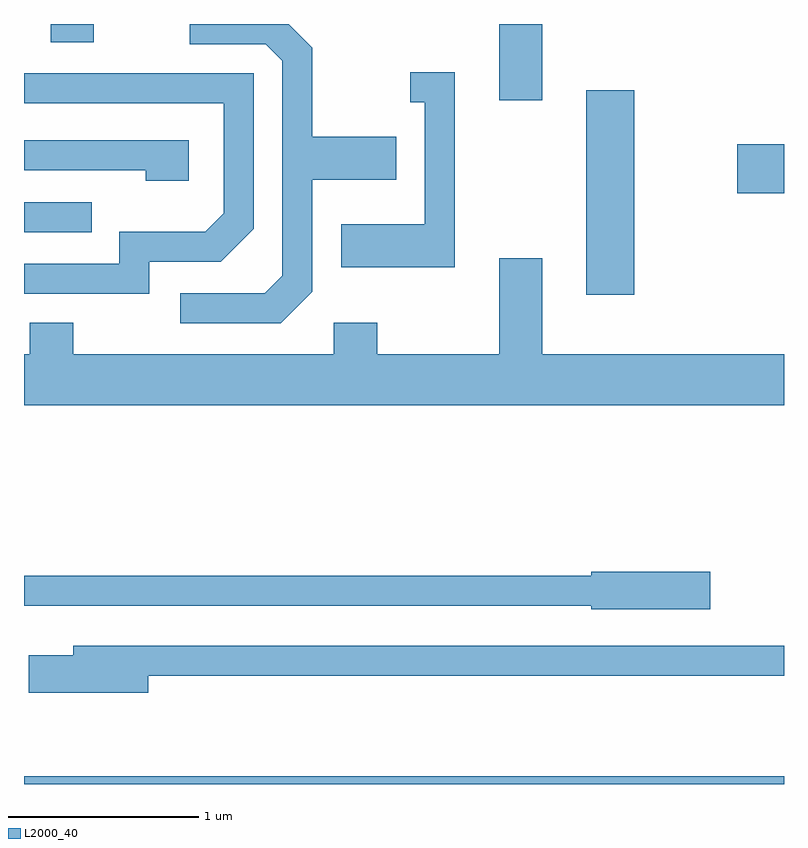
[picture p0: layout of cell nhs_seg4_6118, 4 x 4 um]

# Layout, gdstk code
import gdstk
lib = gdstk.Library(unit=1e-6, precision=1e-09)
def R(c, l, rs):  # rectangles x0, y0, x1, y1
    for r in rs: c.add(gdstk.rectangle(r[:2], r[2:], *l))
def P(c, l, *ps):  # polygons
    for p in ps: c.add(gdstk.Polygon(p, *l))
L2000_40 = (2000, 40)

nhs_seg4_6118 = lib.new_cell('nhs_seg4_6118')
R(nhs_seg4_6118, L2000_40, [(363.611,1385.982,367.611,1386.024), (366.571,1388.556,366.824,1389.634), (363.611,1388.886,363.968,1389.044), (367.366,1389.091,367.611,1389.349), (366.111,1389.581,366.339,1389.982), (363.751,1389.886,363.979,1389.982)])
P(nhs_seg4_6118, L2000_40, [(365.129,1388.574),(365.129,1389.161),(365.569,1389.161),(365.569,1389.389),(365.129,1389.389),(365.129,1389.857),(365.004,1389.982),(364.483,1389.982),(364.483,1389.876),(364.884,1389.876),(364.971,1389.789),(364.971,1388.657),(364.879,1388.564),(364.433,1388.564),(364.433,1388.406),(364.962,1388.406)],
  [(365.879,1389.729),(365.643,1389.729),(365.643,1389.571),(365.721,1389.571),(365.721,1388.929),(365.281,1388.929),(365.281,1388.701),(365.879,1388.701)],
  [(364.269,1388.731),(364.647,1388.731),(364.819,1388.904),(364.819,1389.724),(363.611,1389.724),(363.611,1389.566),(364.661,1389.566),(364.661,1388.987),(364.564,1388.889),(364.111,1388.889),(364.111,1388.719),(363.611,1388.719),(363.611,1388.561),(364.269,1388.561)],
  [(364.479,1389.369),(363.611,1389.369),(363.611,1389.211),(364.251,1389.211),(364.251,1389.156),(364.479,1389.156)],
  [(367.611,1388.244),(366.339,1388.244),(366.339,1388.749),(366.111,1388.749),(366.111,1388.244),(365.469,1388.244),(365.469,1388.409),(365.241,1388.409),(365.241,1388.244),(363.869,1388.244),(363.869,1388.409),(363.641,1388.409),(363.641,1388.244),(363.611,1388.244),(363.611,1387.976),(367.611,1387.976)],
  [(367.224,1387.099),(366.596,1387.099),(366.596,1387.079),(363.611,1387.079),(363.611,1386.921),(366.596,1386.921),(366.596,1386.901),(367.224,1386.901)],
  [(364.264,1386.551),(367.611,1386.551),(367.611,1386.709),(363.871,1386.709),(363.871,1386.659),(363.636,1386.659),(363.636,1386.461),(364.264,1386.461)])

lib.write_gds('nhs_seg4_6118.gds')
